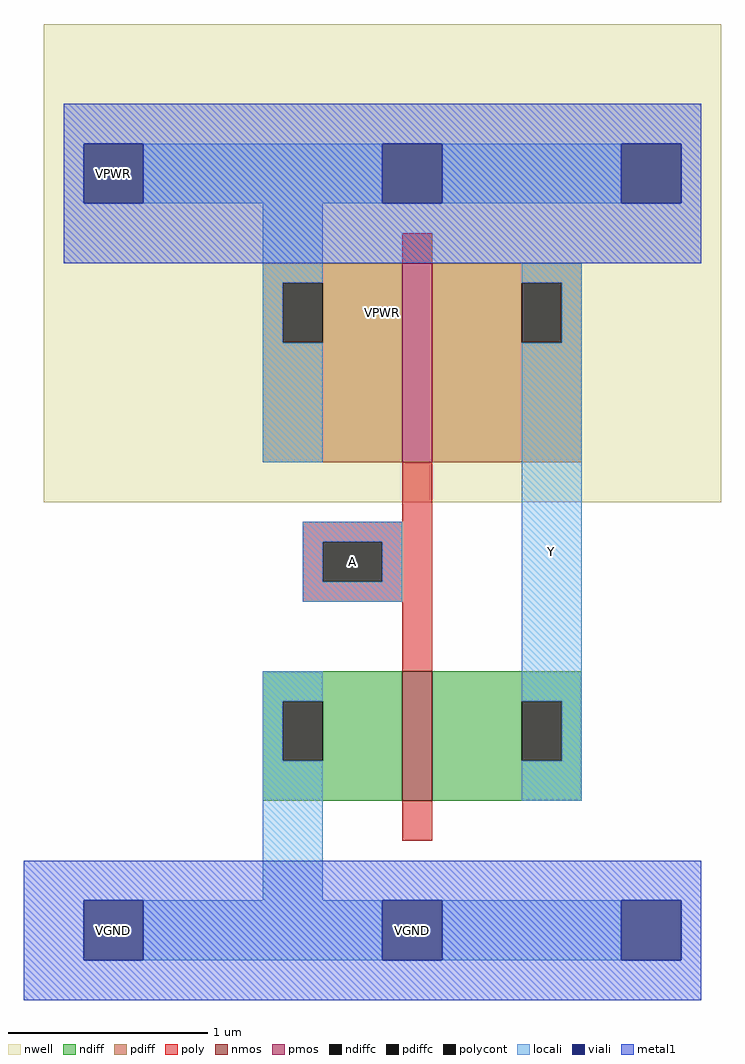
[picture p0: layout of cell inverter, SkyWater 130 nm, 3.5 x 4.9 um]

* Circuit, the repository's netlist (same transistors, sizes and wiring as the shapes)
* NGSPICE file created from inverter.ext - technology: sky130A

.subckt inverter
X0 Y A VPWR NWELL sky130_fd_pr__pfet_01v8 ad=7.5e+11p pd=3.5e+06u as=7e+11p ps=3.4e+06u w=1e+06u l=150000u
X1 Y A VGND SUB sky130_fd_pr__nfet_01v8 ad=4.875e+11p pd=2.8e+06u as=4.55e+11p ps=2.7e+06u w=650000u l=150000u
.ends

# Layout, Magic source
magic
tech sky130A
<< nwell >>
rect -150 -20 190 220
<< nmos >>
rect 30 -170 45 -105
<< pmos >>
rect 30 0 45 100
<< ndiff >>
rect -40 -120 30 -105
rect -40 -150 -30 -120
rect -10 -150 30 -120
rect -40 -170 30 -150
rect 45 -120 120 -105
rect 45 -150 90 -120
rect 110 -150 120 -120
rect 45 -170 120 -150
<< pdiff >>
rect -40 90 30 100
rect -40 60 -30 90
rect -10 60 30 90
rect -40 0 30 60
rect 45 90 120 100
rect 45 60 90 90
rect 110 60 120 90
rect 45 0 120 60
<< ndiffc >>
rect -30 -150 -10 -120
rect 90 -150 110 -120
<< pdiffc >>
rect -30 60 -10 90
rect 90 60 110 90
<< poly >>
rect 30 100 45 115
rect 30 -30 45 0
rect -20 -40 45 -30
rect -20 -60 -10 -40
rect 20 -60 45 -40
rect -20 -70 45 -60
rect 30 -105 45 -70
rect 30 -190 45 -170
<< polycont >>
rect -10 -60 20 -40
<< locali >>
rect -100 130 20 160
rect 50 130 140 160
rect -40 90 -10 130
rect -40 60 -30 90
rect -40 0 -10 60
rect 90 90 120 100
rect 110 60 120 90
rect -20 -40 30 -30
rect -20 -60 -10 -40
rect 20 -60 30 -40
rect -20 -70 30 -60
rect -40 -120 -10 -105
rect -40 -150 -30 -120
rect -40 -220 -10 -150
rect 90 -120 120 60
rect 110 -150 120 -120
rect 90 -170 120 -150
rect -100 -250 20 -220
rect 50 -250 140 -220
<< viali >>
rect -130 130 -100 160
rect 20 130 50 160
rect 140 130 170 160
rect -130 -250 -100 -220
rect 20 -250 50 -220
rect 140 -250 170 -220
<< metal1 >>
rect -140 160 180 180
rect -140 130 -130 160
rect -100 130 20 160
rect 50 130 140 160
rect 170 130 180 160
rect -140 100 180 130
rect -160 -220 180 -200
rect -160 -250 -130 -220
rect -100 -250 20 -220
rect 50 -250 140 -220
rect 170 -250 180 -220
rect -160 -270 180 -250
<< labels >>
rlabel nwell -150 -20 190 170 1 VPWR
rlabel nwell -150 -20 190 170 1 NWELL
rlabel viali -130 130 -100 160 1 VPWR
rlabel locali -20 -70 30 -30 1 A
rlabel polycont -10 -60 20 -40 1 A
rlabel locali 90 -60 120 -30 1 Y
rlabel viali 20 -250 50 -220 1 VGND
rlabel viali -130 -250 -100 -220 1 VGND
<< end >>
